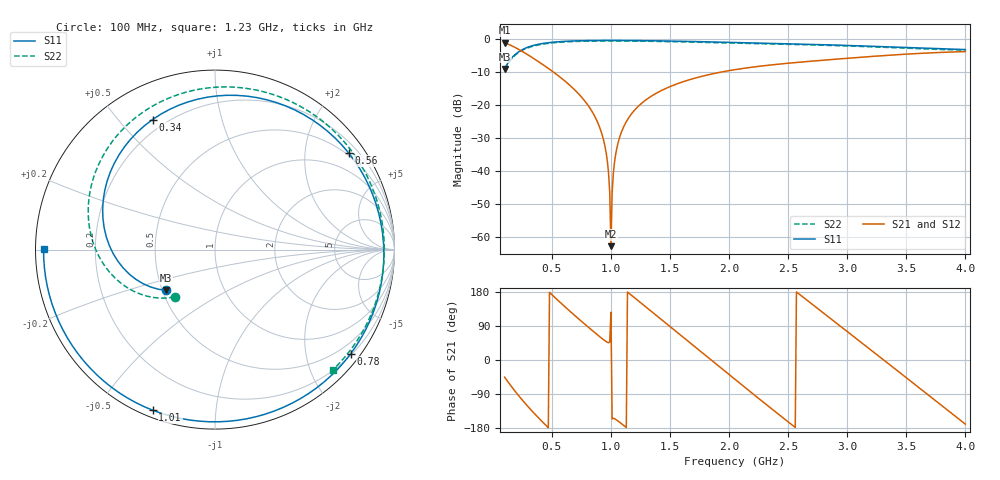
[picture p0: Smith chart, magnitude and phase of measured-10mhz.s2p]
! Generated by 参数面去嵌台 (reference-plane de-embed bench)
# GHz S RI R 50
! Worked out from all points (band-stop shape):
!   391 points, 100 MHz to 4 GHz, reference 50 ohm
!   highest |S21| = -1.07 dB at 100 MHz (marker M1); lowest = -62.7 dB at 1 GHz (marker M2)
!   |S21| within 3 dB of the highest: start of sweep to 268 MHz; 3.732 GHz to end of sweep
!   lowest |S11| = -9.0 dB at 100 MHz (marker M3), VSWR 2.10, Z = 26.2 - j13.6 ohm
!   |S11| at or under -10 dB: nowhere
!   |S22| runs from -9.2 to -0.5 dB; largest |S21 - S12| = 2.2e-13
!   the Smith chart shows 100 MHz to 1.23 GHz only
!   S11 on the Smith chart (normalised r, x): 100 MHz: 0.52, -0.27; 340 MHz: 0.15, +0.62; 560 MHz: 0.44, +3.03; 780 MHz: 0.23, -2.93; 1.01 GHz: 0.03, -0.68; 1.23 GHz: 0.02, +0.00
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0.1  -0.2723 -0.2271  0.6208 -0.6292  0.6208 -0.6292  -0.2241 -0.2637
0.22  -0.6243 0.1724  -0.0557 -0.6999  -0.0557 -0.6999  -0.6288 -0.0692
0.34  -0.3477 0.7248  -0.382 -0.3527  -0.382 -0.3527  -0.6778 0.398
0.56  0.7439 0.5395  -0.2493 0.1168  -0.2493 0.1168  -0.0535 0.899
0.75  0.842 -0.441  -0.0282 0.1307  -0.0282 0.1307  0.5842 0.7275
0.78  0.7566 -0.5793  -0.00832 0.1149  -0.00832 0.1149  0.6628 0.6604
0.96  -0.0887 -0.9557  0.0124 0.0141  0.0124 0.0141  0.9338 0.1314
0.99  -0.2457 -0.928  0.00316 0.00346  0.00316 0.00346  0.9426 0.0329
1  -0.2967 -0.913  -0.00043 0.000592  -0.00043 0.000592  0.9432 -3.51e-08
1.01  -0.3466 -0.8952  -0.00422 -0.00191  -0.00422 -0.00191  0.9426 -0.0328
1.07  -0.6181 -0.7339  -0.0298 -0.00891  -0.0298 -0.00891  0.915 -0.2268
1.23  -0.9551 0.00379  -0.0881 0.038  -0.0881 0.038  0.657 -0.6691
1.4  -0.5697 0.7561  -0.0632 0.1447  -0.0632 0.1447  0.1743 -0.9118
1.57  0.2485 0.9016  0.0719 0.2022  0.0719 0.2022  -0.3612 -0.8416
1.76  0.8825 0.2596  0.2521 0.1024  0.2521 0.1024  -0.7927 -0.4254
2.06  0.2337 -0.862  0.2057 -0.2818  0.2057 -0.2818  -0.7345 0.4728
2.39  -0.8601 -0.0821  -0.2993 -0.287  -0.2993 -0.287  0.1152 0.8393
2.7  -0.0296 0.8361  -0.3951 0.2479  -0.3951 0.2479  0.7519 0.3325
3.01  0.8057 -0.0174  0.1539 0.4935  0.1539 0.4935  0.6627 -0.4333
3.35  -0.1731 -0.7468  0.5638 -0.0999  0.5638 -0.0999  -0.0885 -0.7459
3.64  -0.7233 0.1166  0.095 -0.6072  0.095 -0.6072  -0.6373 -0.3267
4  0.2989 0.6321  -0.6404 -0.121  -0.6404 -0.121  -0.4975 0.4691
